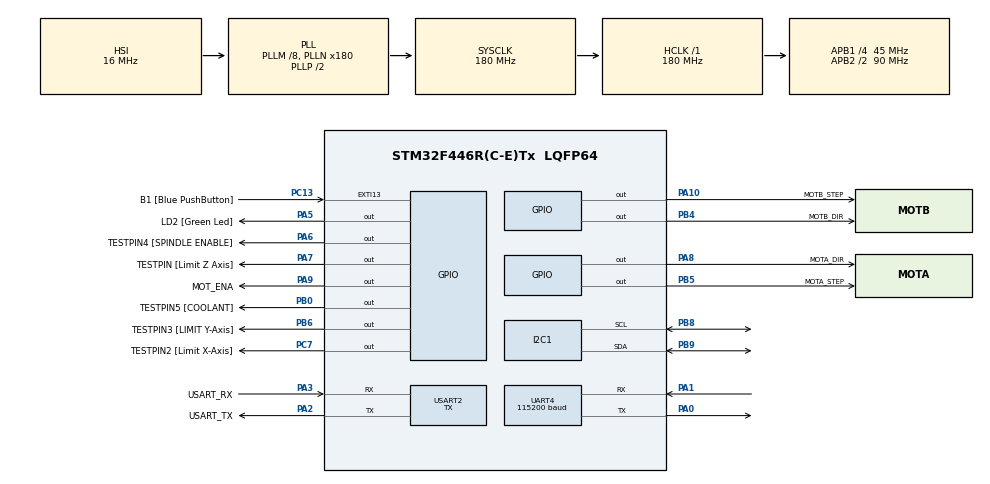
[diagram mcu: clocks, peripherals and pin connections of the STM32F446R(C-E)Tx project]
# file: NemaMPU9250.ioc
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Mcu.Family=STM32F4
UART4.StopBits=UART_STOPBITS_1
PH0-OSC_IN.Signal=RCC_OSC_IN
TIM2.Channel-Output\ Compare1\ No\ Output=TIM_CHANNEL_1
RCC.CortexFreq_Value=180000000
NVIC.DMA1_Stream2_IRQn=true\:0\:0\:false\:false\:true\:false\:true
PA14.GPIO_Label=TCK
USART2.Parity=PARITY_ODD
PA6.GPIO_Label=TESTPIN4 [SPINDLE ENABLE]
PB0.GPIO_Label=TESTPIN5 [COOLANT]
PB6.GPIO_Label=TESTPIN3 [LIMIT Y-Axis]
PC13.GPIO_Label=B1 [Blue PushButton]
RCC.SYSCLKSource=RCC_SYSCLKSOURCE_PLLCLK
ProjectManager.StackSize=0x400
TIM1.Prescaler=180-1
UART4.BaudRate=115200
UART4.Mode=MODE_TX_RX
RCC.HCLKFreq_Value=180000000
RCC.APB2TimFreq_Value=180000000
PB6.Signal=GPIO_Output
PC7.Signal=GPIO_Output
UART4.Parity=PARITY_ODD
RCC.AHBFreq_Value=180000000
PH0-OSC_IN.Mode=HSE-External-Oscillator
RCC.HSE_VALUE=8000000
VP_TIM2_VS_no_output1.Mode=Output Compare1 No Output
NVIC.TIM8_TRG_COM_TIM14_IRQn=true\:0\:0\:false\:false\:true\:true\:true
TIM14.Period=40-1
Dma.UART4_RX.0.MemDataAlignment=DMA_MDATAALIGN_BYTE
PC14-OSC32_IN.Mode=LSE-External-Oscillator
PA14.Mode=Serial_Wire
PA10.GPIO_Label=MOTB_STEP
PA8.Signal=GPIO_Output
Dma.UART4_RX.0.PeriphDataAlignment=DMA_PDATAALIGN_BYTE
VP_TIM1_VS_ClockSourceINT.Mode=Internal
RCC.FLatency-AdvancedSettings=FLASH_LATENCY_5
PH1-OSC_OUT.Mode=HSE-External-Oscillator
Mcu.Package=LQFP64
PB9.Signal=I2C1_SDA
TIM2.Prescaler=90-1
PA6.Signal=GPIO_Output
USART2.VirtualMode=VM_ASYNC
PA2.GPIO_Label=USART_TX
PA10.Signal=GPIO_Output
USART2.WordLength=WORDLENGTH_9B
RCC.APB2CLKDivider=RCC_HCLK_DIV2
UART4.WordLength=WORDLENGTH_9B
PB5.GPIO_Label=MOTA_STEP
RCC.APB1TimFreq_Value=90000000
TIM1.Period=0xFFFF-1
VP_TIM14_VS_ClockSourceINT.Mode=Enable_Timer
Dma.Request0=UART4_RX
PB4.Signal=GPIO_Output
PA3.Signal=USART2_RX
PB3.GPIO_Label=SWO
Dma.UART4_RX.0.MemInc=DMA_MINC_ENABLE
PC15-OSC32_OUT.Mode=LSE-External-Oscillator
PC13.Signal=GPXTI13
PA9.GPIO_Label=MOT_ENA
Dma.UART4_RX.0.Mode=DMA_NORMAL
RCC.APB1CLKDivider=RCC_HCLK_DIV4
UART4.VirtualMode=Asynchronous
PC14-OSC32_IN.Signal=RCC_OSC32_IN
PA0-WKUP.Signal=UART4_TX
PA0-WKUP.Mode=Asynchronous
PA3.Mode=Asynchronous
PA13.Signal=SYS_JTMS-SWDIO
PA8.GPIO_Label=MOTA_DIR
Dma.UART4_RX.0.Direction=DMA_PERIPH_TO_MEMORY
ProjectManager.TargetToolchain=STM32CubeIDE
I2C1.I2C_Mode=I2C_Fast
PB9.Mode=I2C
PA9.Signal=GPIO_Output
RCC.USBFreq_Value=180000000
Dma.UART4_RX.0.PeriphInc=DMA_PINC_DISABLE
PC15-OSC32_OUT.Signal=RCC_OSC32_OUT
PA1.Signal=UART4_RX
PA5.Signal=GPIO_Output
board=NUCLEO-F446RE
RCC.VCOOutputFreq_Value=360000000
Dma.UART4_RX.0.FIFOMode=DMA_FIFOMODE_DISABLE
Dma.UART4_RX.0.Priority=DMA_PRIORITY_LOW
RCC.APB2Freq_Value=90000000
PA1.Mode=Asynchronous
USART2.StopBits=STOPBITS_2
PB4.GPIO_Label=MOTB_DIR
PH1-OSC_OUT.Signal=RCC_OSC_OUT
PA13.Mode=Serial_Wire
Mcu.Name=STM32F446R(C-E)Tx
TIM14.Prescaler=45-1
PA2.Signal=USART2_TX
PA13.GPIO_Label=TMS
PC7.GPIO_Label=TESTPIN2 [Limit X-Axis]
RCC.48MHZClocksFreq_Value=84000000
PB3.Signal=SYS_JTDO-SWO
RCC.SYSCLKFreq_VALUE=180000000
PB5.Signal=GPIO_Output
PA7.GPIO_Label=TESTPIN [Limit Z Axis]
PA5.GPIO_Label=LD2 [Green Led]
PC13.GPIO_ModeDefaultEXTI=GPIO_MODE_IT_FALLING
PA14.Signal=SYS_JTCK-SWCLK
ProjectManager.HeapSize=0x200
RCC.HSI_VALUE=16000000
NVIC.PriorityGroup=NVIC_PRIORITYGROUP_0
RCC.PLLM=8
PB8.Mode=I2C
RCC.PLLN=180
Dma.UART4_RX.0.Instance=DMA1_Stream2
PA2.Mode=Asynchronous
PB8.Signal=I2C1_SCL
RCC.APB1Freq_Value=45000000
USART2.Mode=MODE_TX
PB0.Signal=GPIO_Output
PA3.GPIO_Label=USART_RX
PA7.Signal=GPIO_Output

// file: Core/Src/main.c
/* USER CODE BEGIN Header */
/**
  ******************************************************************************
  * @file           : main.c
  * @brief          : Main program body
  ******************************************************************************
  * @attention
  *
  * <h2><center>&copy; Copyright (c) 2021 STMicroelectronics.
  * All rights reserved.</center></h2>
  *
  * This software component is licensed by ST under BSD 3-Clause license,
  * the "License"; You may not use this file except in compliance with the
  * License. You may obtain a copy of the License at:
  *                        opensource.org/licenses/BSD-3-Clause
  *
  ******************************************************************************
  */
/* USER CODE END Header */
#include "main.h"

/* USER CODE BEGIN Includes */
#include <stdio.h>
#include <stdbool.h>
#include <string.h>
#include "config.h"
#include "defines.h"
#include "util.h"
#include "stepper.h"
#include "mpu6050.h"
#include "mpu6050_dmp.h"

/* USER CODE END Includes */

I2C_HandleTypeDef hi2c1;

TIM_HandleTypeDef htim1;
TIM_HandleTypeDef htim2;
TIM_HandleTypeDef htim14;

UART_HandleTypeDef huart4;
UART_HandleTypeDef huart2;
DMA_HandleTypeDef hdma_uart4_rx;

/* USER CODE BEGIN PV */
rxdata_t uart_received_block = {0};
uint8_t uart_received_buffer[sizeof(uart_received_block)];

/* USER CODE END PV */

void SystemClock_Config(void);
static void MX_GPIO_Init(void);
static void MX_DMA_Init(void);
static void MX_USART2_UART_Init(void);
static void MX_I2C1_Init(void);
static void MX_TIM1_Init(void);
static void MX_TIM2_Init(void);
static void MX_TIM14_Init(void);
static void MX_UART4_Init(void);

/* USER CODE BEGIN 0 */

//Functions for serial console output via USB
int __io_putchar(int ch) {
	if(DEBUG_PRINT){
		HAL_UART_Transmit(&huart2, (uint8_t *) &ch, 1, 0xFFFF);
	}
	return ch;
}

int __io_getchar(void) {
  int retval = -1;
  HAL_UART_Receive(&huart2, (uint8_t*) &retval, 1, 0xF);
  return retval;
}

// UART receive callback
void HAL_UART_RxCpltCallback(UART_HandleTypeDef *huart){
	HAL_GPIO_TogglePin(LD2_GPIO_Port, LD2_Pin);
	memcpy(&uart_received_block, &uart_received_buffer, sizeof(uart_received_buffer));
	processCommand(uart_received_block);
	HAL_UART_Receive_DMA (&huart4, uart_received_buffer, sizeof(uart_received_buffer));
}

/* USER CODE END 0 */

int main(void)
{

  /* MCU Configuration--------------------------------------------------------*/

  /* Reset of all peripherals, Initializes the Flash interface and the Systick. */
  HAL_Init();

  /* Configure the system clock */
  SystemClock_Config();

  /* Initialize all configured peripherals */
  MX_GPIO_Init();
  MX_DMA_Init();
  MX_USART2_UART_Init();
  MX_I2C1_Init();
  MX_TIM1_Init();
  MX_TIM2_Init();
  MX_TIM14_Init();
  MX_UART4_Init();
  /* USER CODE BEGIN 2 */

  HAL_TIM_Base_Start(&htim1);		// Start Timer 1 for microsecond delay function
  HAL_TIM_Base_Start_IT(&htim14);	// Start Timer 14 for Stepper ISR

  //scan_2c();

  /* USER CODE END 2 */

  /* Infinite loop */
  /* USER CODE BEGIN WHILE */

  printf("Device is starting\r\n");
  setSpeedRPM(0,  0);
  HAL_Delay(2000);	// short break to let the MPU boot
  initIMU();
  initPID();
  enableSteppers();
  /* RUN FOREVER */
  while (1)
  {
    HAL_UART_Receive_DMA (&huart4, uart_received_buffer, sizeof(uart_received_buffer));
	handleIMU();
	handleMovement();
	handleTelemetry();
    /* USER CODE END WHILE */

  }
}

void SystemClock_Config(void)
{
  RCC_OscInitTypeDef RCC_OscInitStruct = {0};
  RCC_ClkInitTypeDef RCC_ClkInitStruct = {0};

  /** Configure the main internal regulator output voltage
  */
  __HAL_RCC_PWR_CLK_ENABLE();
  __HAL_PWR_VOLTAGESCALING_CONFIG(PWR_REGULATOR_VOLTAGE_SCALE1);
  /** Initializes the RCC Oscillators according to the specified parameters
  * in the RCC_OscInitTypeDef structure.
  */
  RCC_OscInitStruct.OscillatorType = RCC_OSCILLATORTYPE_HSI;
  RCC_OscInitStruct.HSIState = RCC_HSI_ON;
  RCC_OscInitStruct.HSICalibrationValue = RCC_HSICALIBRATION_DEFAULT;
  RCC_OscInitStruct.PLL.PLLState = RCC_PLL_ON;
  RCC_OscInitStruct.PLL.PLLSource = RCC_PLLSOURCE_HSI;
  RCC_OscInitStruct.PLL.PLLM = 8;
  RCC_OscInitStruct.PLL.PLLN = 180;
  RCC_OscInitStruct.PLL.PLLP = RCC_PLLP_DIV2;
  RCC_OscInitStruct.PLL.PLLQ = 2;
  RCC_OscInitStruct.PLL.PLLR = 2;
  if (HAL_RCC_OscConfig(&RCC_OscInitStruct) != HAL_OK)
  {
    Error_Handler();
  }
  /** Activate the Over-Drive mode
  */
  if (HAL_PWREx_EnableOverDrive() != HAL_OK)
  {
    Error_Handler();
  }
  /** Initializes the CPU, AHB and APB buses clocks
  */
  RCC_ClkInitStruct.ClockType = RCC_CLOCKTYPE_HCLK|RCC_CLOCKTYPE_SYSCLK
                              |RCC_CLOCKTYPE_PCLK1|RCC_CLOCKTYPE_PCLK2;
  RCC_ClkInitStruct.SYSCLKSource = RCC_SYSCLKSOURCE_PLLCLK;
  RCC_ClkInitStruct.AHBCLKDivider = RCC_SYSCLK_DIV1;
  RCC_ClkInitStruct.APB1CLKDivider = RCC_HCLK_DIV4;
  RCC_ClkInitStruct.APB2CLKDivider = RCC_HCLK_DIV2;

  if (HAL_RCC_ClockConfig(&RCC_ClkInitStruct, FLASH_LATENCY_5) != HAL_OK)
  {
    Error_Handler();
  }
}

static void MX_I2C1_Init(void)
{

  hi2c1.Instance = I2C1;
  hi2c1.Init.ClockSpeed = 400000;
  hi2c1.Init.DutyCycle = I2C_DUTYCYCLE_2;
  hi2c1.Init.OwnAddress1 = 0;
  hi2c1.Init.AddressingMode = I2C_ADDRESSINGMODE_7BIT;
  hi2c1.Init.DualAddressMode = I2C_DUALADDRESS_DISABLE;
  hi2c1.Init.OwnAddress2 = 0;
  hi2c1.Init.GeneralCallMode = I2C_GENERALCALL_DISABLE;
  hi2c1.Init.NoStretchMode = I2C_NOSTRETCH_DISABLE;
  if (HAL_I2C_Init(&hi2c1) != HAL_OK)
  {
    Error_Handler();
  }

}

static void MX_TIM1_Init(void)
{

  TIM_ClockConfigTypeDef sClockSourceConfig = {0};
  TIM_MasterConfigTypeDef sMasterConfig = {0};

  htim1.Instance = TIM1;
  htim1.Init.Prescaler = 180-1;
  htim1.Init.CounterMode = TIM_COUNTERMODE_UP;
  htim1.Init.Period = 0xFFFF-1;
  htim1.Init.ClockDivision = TIM_CLOCKDIVISION_DIV1;
  htim1.Init.RepetitionCounter = 0;
  htim1.Init.AutoReloadPreload = TIM_AUTORELOAD_PRELOAD_DISABLE;
  if (HAL_TIM_Base_Init(&htim1) != HAL_OK)
  {
    Error_Handler();
  }
  sClockSourceConfig.ClockSource = TIM_CLOCKSOURCE_INTERNAL;
  if (HAL_TIM_ConfigClockSource(&htim1, &sClockSourceConfig) != HAL_OK)
  {
    Error_Handler();
  }
  sMasterConfig.MasterOutputTrigger = TIM_TRGO_RESET;
  sMasterConfig.MasterSlaveMode = TIM_MASTERSLAVEMODE_DISABLE;
  if (HAL_TIMEx_MasterConfigSynchronization(&htim1, &sMasterConfig) != HAL_OK)
  {
    Error_Handler();
  }

}

static void MX_TIM2_Init(void)
{

  TIM_MasterConfigTypeDef sMasterConfig = {0};
  TIM_OC_InitTypeDef sConfigOC = {0};

  htim2.Instance = TIM2;
  htim2.Init.Prescaler = 90-1;
  htim2.Init.CounterMode = TIM_COUNTERMODE_UP;
  htim2.Init.Period = 4294967295;
  htim2.Init.ClockDivision = TIM_CLOCKDIVISION_DIV1;
  htim2.Init.AutoReloadPreload = TIM_AUTORELOAD_PRELOAD_DISABLE;
  if (HAL_TIM_OC_Init(&htim2) != HAL_OK)
  {
    Error_Handler();
  }
  sMasterConfig.MasterOutputTrigger = TIM_TRGO_RESET;
  sMasterConfig.MasterSlaveMode = TIM_MASTERSLAVEMODE_DISABLE;
  if (HAL_TIMEx_MasterConfigSynchronization(&htim2, &sMasterConfig) != HAL_OK)
  {
    Error_Handler();
  }
  sConfigOC.OCMode = TIM_OCMODE_TIMING;
  sConfigOC.Pulse = 0;
  sConfigOC.OCPolarity = TIM_OCPOLARITY_HIGH;
  sConfigOC.OCFastMode = TIM_OCFAST_DISABLE;
  if (HAL_TIM_OC_ConfigChannel(&htim2, &sConfigOC, TIM_CHANNEL_1) != HAL_OK)
  {
    Error_Handler();
  }

}

static void MX_TIM14_Init(void)
{

  htim14.Instance = TIM14;
  htim14.Init.Prescaler = 45-1;
  htim14.Init.CounterMode = TIM_COUNTERMODE_UP;
  htim14.Init.Period = 40-1;
  htim14.Init.ClockDivision = TIM_CLOCKDIVISION_DIV1;
  htim14.Init.AutoReloadPreload = TIM_AUTORELOAD_PRELOAD_DISABLE;
  if (HAL_TIM_Base_Init(&htim14) != HAL_OK)
  {
    Error_Handler();
  }

}

static void MX_UART4_Init(void)
{

  huart4.Instance = UART4;
  huart4.Init.BaudRate = 115200;
  huart4.Init.WordLength = UART_WORDLENGTH_9B;
  huart4.Init.StopBits = UART_STOPBITS_1;
  huart4.Init.Parity = UART_PARITY_ODD;
  huart4.Init.Mode = UART_MODE_TX_RX;
  huart4.Init.HwFlowCtl = UART_HWCONTROL_NONE;
  huart4.Init.OverSampling = UART_OVERSAMPLING_16;
  if (HAL_UART_Init(&huart4) != HAL_OK)
  {
    Error_Handler();
  }

}

static void MX_USART2_UART_Init(void)
{

  huart2.Instance = USART2;
  huart2.Init.BaudRate = 115200;
  huart2.Init.WordLength = UART_WORDLENGTH_9B;
  huart2.Init.StopBits = UART_STOPBITS_2;
  huart2.Init.Parity = UART_PARITY_ODD;
  huart2.Init.Mode = UART_MODE_TX;
  huart2.Init.HwFlowCtl = UART_HWCONTROL_NONE;
  huart2.Init.OverSampling = UART_OVERSAMPLING_16;
  if (HAL_UART_Init(&huart2) != HAL_OK)
  {
    Error_Handler();
  }

}

static void MX_DMA_Init(void)
{

  /* DMA controller clock enable */
  __HAL_RCC_DMA1_CLK_ENABLE();

  /* DMA interrupt init */
  /* DMA1_Stream2_IRQn interrupt configuration */
  HAL_NVIC_SetPriority(DMA1_Stream2_IRQn, 0, 0);
  HAL_NVIC_EnableIRQ(DMA1_Stream2_IRQn);

}

static void MX_GPIO_Init(void)
{
  GPIO_InitTypeDef GPIO_InitStruct = {0};

  /* GPIO Ports Clock Enable */
  __HAL_RCC_GPIOC_CLK_ENABLE();
  __HAL_RCC_GPIOH_CLK_ENABLE();
  __HAL_RCC_GPIOA_CLK_ENABLE();
  __HAL_RCC_GPIOB_CLK_ENABLE();

  /*Configure GPIO pin Output Level */
  HAL_GPIO_WritePin(GPIOA, LD2_Pin|TESTPIN4_Pin|TESTPIN_Pin|MOTA_DIR_Pin
                          |MOT_ENA_Pin|MOTB_STEP_Pin, GPIO_PIN_RESET);

  /*Configure GPIO pin Output Level */
  HAL_GPIO_WritePin(GPIOB, TESTPIN5_Pin|MOTB_DIR_Pin|MOTA_STEP_Pin|TESTPIN3_Pin, GPIO_PIN_RESET);

  /*Configure GPIO pin Output Level */
  HAL_GPIO_WritePin(TESTPIN2_GPIO_Port, TESTPIN2_Pin, GPIO_PIN_RESET);

  /*Configure GPIO pin : B1_Pin */
  GPIO_InitStruct.Pin = B1_Pin;
  GPIO_InitStruct.Mode = GPIO_MODE_IT_FALLING;
  GPIO_InitStruct.Pull = GPIO_NOPULL;
  HAL_GPIO_Init(B1_GPIO_Port, &GPIO_InitStruct);

  /*Configure GPIO pins : LD2_Pin TESTPIN4_Pin TESTPIN_Pin MOTA_DIR_Pin
                           MOT_ENA_Pin MOTB_STEP_Pin */
  GPIO_InitStruct.Pin = LD2_Pin|TESTPIN4_Pin|TESTPIN_Pin|MOTA_DIR_Pin
                          |MOT_ENA_Pin|MOTB_STEP_Pin;
  GPIO_InitStruct.Mode = GPIO_MODE_OUTPUT_PP;
  GPIO_InitStruct.Pull = GPIO_NOPULL;
  GPIO_InitStruct.Speed = GPIO_SPEED_FREQ_LOW;
  HAL_GPIO_Init(GPIOA, &GPIO_InitStruct);

  /*Configure GPIO pins : TESTPIN5_Pin MOTB_DIR_Pin MOTA_STEP_Pin TESTPIN3_Pin */
  GPIO_InitStruct.Pin = TESTPIN5_Pin|MOTB_DIR_Pin|MOTA_STEP_Pin|TESTPIN3_Pin;
  GPIO_InitStruct.Mode = GPIO_MODE_OUTPUT_PP;
  GPIO_InitStruct.Pull = GPIO_NOPULL;
  GPIO_InitStruct.Speed = GPIO_SPEED_FREQ_LOW;
  HAL_GPIO_Init(GPIOB, &GPIO_InitStruct);

  /*Configure GPIO pin : TESTPIN2_Pin */
  GPIO_InitStruct.Pin = TESTPIN2_Pin;
  GPIO_InitStruct.Mode = GPIO_MODE_OUTPUT_PP;
  GPIO_InitStruct.Pull = GPIO_NOPULL;
  GPIO_InitStruct.Speed = GPIO_SPEED_FREQ_LOW;
  HAL_GPIO_Init(TESTPIN2_GPIO_Port, &GPIO_InitStruct);

}

void Error_Handler(void)
{
  __disable_irq();
  while (1)
  {
  }
}

/************************ (C) COPYRIGHT STMicroelectronics *****END OF FILE****/
